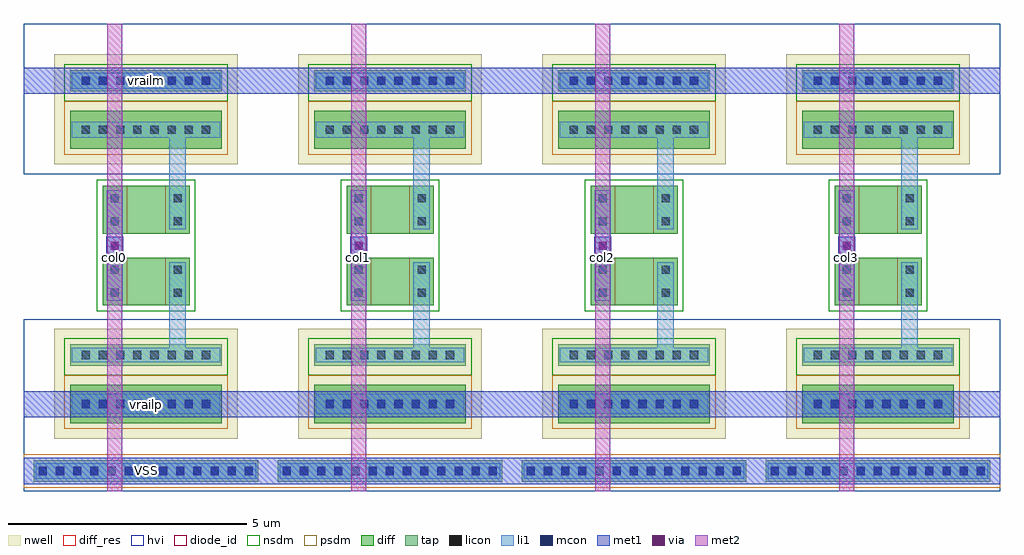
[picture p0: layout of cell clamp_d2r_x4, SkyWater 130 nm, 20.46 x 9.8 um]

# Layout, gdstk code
import gdstk
lib = gdstk.Library(unit=1e-6, precision=1e-09)
def R(c, l, rs):  # rectangles x0, y0, x1, y1
    for r in rs: c.add(gdstk.rectangle(r[:2], r[2:], *l))
def A(c, l, x, y, w, h, nx, ny, dx, dy):  # array of equal rectangles
    R(c, l, [(x+i*dx, y+j*dy, x+i*dx+w, y+j*dy+h) for i in range(nx) for j in range(ny)])
nwell = (64, 20)
diff_res = (65, 13)
diff = (65, 20)
tap = (65, 44)
licon = (66, 44)
li1 = (67, 20)
mcon = (67, 44)
met1 = (68, 20)
via = (68, 44)
met2 = (69, 20)
hvi = (75, 20)
diode_id = (81, 23)
nsdm = (93, 44)
psdm = (94, 20)

clamp_d2r = lib.new_cell('clamp_d2r')
R(clamp_d2r, nwell, [(0.635,1.1,4.48,3.41), (0.635,6.85,4.48,9.165)])
R(clamp_d2r, diff_res, [(2.15,3.9,2.97,4.9), (2.15,5.4,2.97,6.4)])
R(clamp_d2r, diff, [(0.965,1.43,4.15,2.23), (1.65,3.9,3.47,4.9), (1.65,5.4,3.47,6.4), (0.965,7.18,4.15,7.98)])
R(clamp_d2r, tap, [(0.2,0.2,4.915,0.65), (0.965,2.63,4.15,3.08), (0.965,8.38,4.15,8.83)])
A(clamp_d2r, licon, 0.31, 0.34, 0.17, 0.17, 13, 1, 0.36, 0)
A(clamp_d2r, licon, 1.21, 1.745, 0.17, 0.17, 8, 2, 0.36, 1.025)
A(clamp_d2r, licon, 1.21, 7.495, 0.17, 0.17, 8, 2, 0.36, 1.025)
R(clamp_d2r, licon, [(1.815,4.075,1.985,4.245), (3.135,4.075,3.305,4.245), (1.815,4.555,1.985,4.725), (3.135,4.555,3.305,4.725), (1.815,5.575,1.985,5.745), (3.135,5.575,3.305,5.745), (1.815,6.055,1.985,6.225), (3.135,6.055,3.305,6.225)])
R(clamp_d2r, li1, [(0.25,0.26,4.865,0.59), (1,1.62,4.115,2.04), (1,2.7,4.115,3.01), (3.05,2.7,3.39,4.805), (1.735,3.995,2.065,6.305), (3.05,5.495,3.39,7.745), (1,7.415,4.115,7.745), (1,8.44,4.115,8.77)])
A(clamp_d2r, mcon, 0.31, 0.34, 0.17, 0.17, 13, 1, 0.36, 0)
A(clamp_d2r, mcon, 1.21, 1.745, 0.17, 0.17, 8, 2, 0.36, 6.775)
R(clamp_d2r, mcon, [(1.815,5.065,1.985,5.235)])
R(clamp_d2r, met1, [(0,0.15,5.115,0.7), (0,1.55,5.115,2.1), (1.72,4.97,2.08,5.33), (0,8.33,5.115,8.88)])
R(clamp_d2r, via, [(1.825,5.075,1.975,5.225)])
R(clamp_d2r, met2, [(1.74,0,2.06,9.8)])
R(clamp_d2r, hvi, [(0,0,5.115,3.61), (0,6.65,5.115,9.8)])
R(clamp_d2r, diode_id, [(0.965,1.43,4.15,2.23), (0.965,7.18,4.15,7.98)])
R(clamp_d2r, nsdm, [(0.84,2.43,4.275,3.205), (1.525,3.775,3.595,6.525), (0.84,8.18,4.275,8.955)])
R(clamp_d2r, psdm, [(0,0.075,5.115,0.775), (0.84,1.305,4.275,2.43), (0.84,7.055,4.275,8.18)])

clamp_d2r_x4 = lib.new_cell('clamp_d2r_x4')
clamp_d2r_x4.add(gdstk.Reference(clamp_d2r, (0,0)))
clamp_d2r_x4.add(gdstk.Reference(clamp_d2r, (5.115,0)))
clamp_d2r_x4.add(gdstk.Reference(clamp_d2r, (10.23,0)))
clamp_d2r_x4.add(gdstk.Reference(clamp_d2r, (15.345,0)))
clamp_d2r_x4.add(gdstk.Label('col0', (1.9,4.9), layer=69, texttype=5))
clamp_d2r_x4.add(gdstk.Label('col1', (7.015,4.9), layer=69, texttype=5))
clamp_d2r_x4.add(gdstk.Label('col2', (12.13,4.9), layer=69, texttype=5))
clamp_d2r_x4.add(gdstk.Label('col3', (17.245,4.9), layer=69, texttype=5))
clamp_d2r_x4.add(gdstk.Label('vrailp', (2.558,1.825), layer=68, texttype=5))
clamp_d2r_x4.add(gdstk.Label('vrailm', (2.558,8.605), layer=68, texttype=5))
clamp_d2r_x4.add(gdstk.Label('VSS', (2.558,0.425), layer=68, texttype=5))

lib.write_gds('clamp_d2r_x4.gds')
